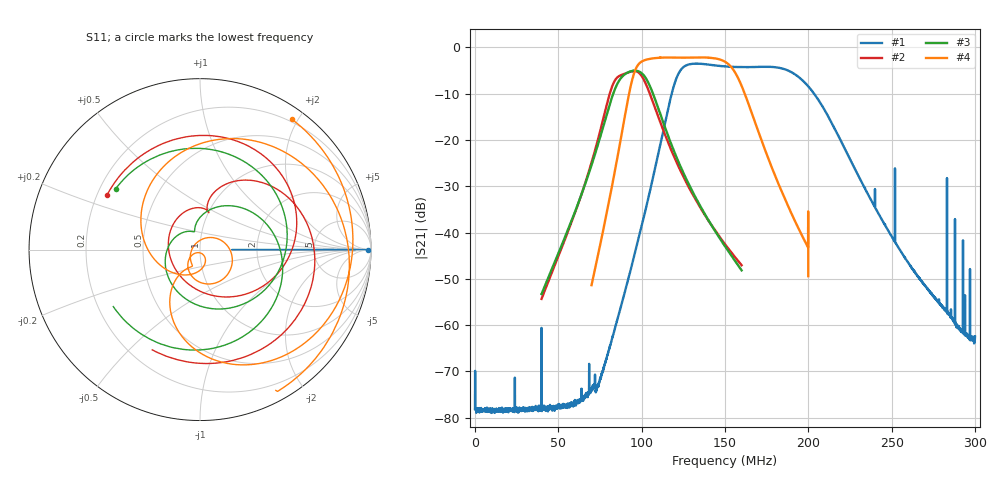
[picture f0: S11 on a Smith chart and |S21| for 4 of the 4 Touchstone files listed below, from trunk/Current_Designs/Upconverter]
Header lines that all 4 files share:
! ListType=Lin
# MHZ S DB R 50
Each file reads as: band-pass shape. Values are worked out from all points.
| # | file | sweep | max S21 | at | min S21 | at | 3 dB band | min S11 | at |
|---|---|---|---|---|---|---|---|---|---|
| 1 | Upconverter-125MHz-ADE_Output_Bandpass_Filter-Testing_Data.s2p | 100 kHz to 300 MHz | -3.50 dB | 132.6 MHz | -79.0 dB | 9.999 MHz | 121.1 MHz-194.6 MHz | -14.6 dB | 128.3 MHz |
| 2 | Upconverter_Testing-LO_Filter_Production_Updated_L13_HigherQ-VNWA_Data.s2p | 40 MHz to 160 MHz | -5.08 dB | 94.92 MHz | -54.3 dB | 40 MHz | 82.73 MHz-102.8 MHz | -14.9 dB | 86.89 MHz |
| 3 | Upconverter_Testing-LO_Filter_Prototype-VNWA_Data.s2p | 40 MHz to 160 MHz | -5.01 dB | 95.98 MHz | -53.3 dB | 40 MHz | 85.32 MHz-104.5 MHz | -19.2 dB | 96.22 MHz |
| 4 | Upconverter_Testing-Prototype1_Bandpass_Filter-VNWA_Data.s2p | 70 MHz to 200 MHz | -2.12 dB | 111.3 MHz | -51.4 dB | 70 MHz | 95.97 MHz-155.5 MHz | -34.5 dB | 142.5 MHz |
